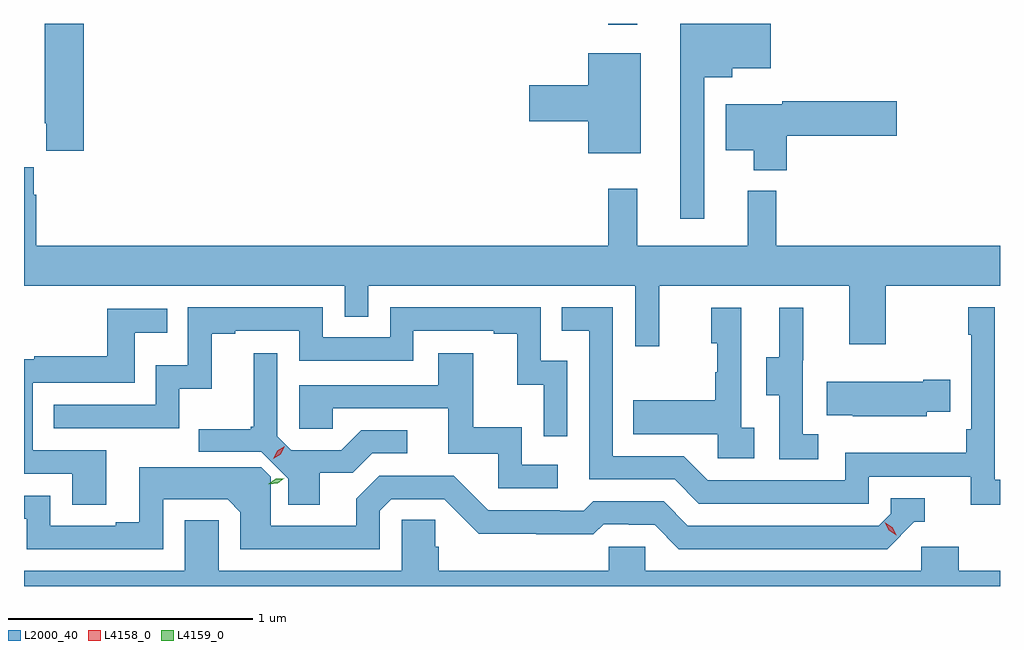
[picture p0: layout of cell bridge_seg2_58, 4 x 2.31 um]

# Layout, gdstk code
import gdstk
lib = gdstk.Library(unit=1e-6, precision=1e-09)
def R(c, l, rs):  # rectangles x0, y0, x1, y1
    for r in rs: c.add(gdstk.rectangle(r[:2], r[2:], *l))
def P(c, l, *ps):  # polygons
    for p in ps: c.add(gdstk.Polygon(p, *l))
L2000_40 = (2000, 40)
L4158_0 = (4158, 0)
L4159_0 = (4159, 0)

bridge_seg2_58 = lib.new_cell('bridge_seg2_58')
R(bridge_seg2_58, L2000_40, [(1129.807,586.101,1129.926,586.106)])
P(bridge_seg2_58, L2000_40, [(1127.657,586.106),(1127.497,586.106),(1127.497,585.697),(1127.503,585.697),(1127.503,585.585),(1127.657,585.585)],
  [(1130.199,585.887),(1130.314,585.887),(1130.314,585.923),(1130.473,585.923),(1130.473,586.106),(1130.102,586.106),(1130.102,585.306),(1130.199,585.306)],
  [(1129.939,585.985),(1129.724,585.985),(1129.724,585.854),(1129.482,585.854),(1129.482,585.707),(1129.724,585.707),(1129.724,585.575),(1129.939,585.575)],
  [(1130.537,585.646),(1130.989,585.646),(1130.989,585.788),(1130.52,585.788),(1130.52,585.775),(1130.288,585.775),(1130.288,585.587),(1130.402,585.587),(1130.402,585.506),(1130.537,585.506)],
  [(1130.015,585.032),(1130.795,585.032),(1130.795,584.793),(1130.943,584.793),(1130.943,585.032),(1131.412,585.032),(1131.412,585.196),(1130.495,585.196),(1130.495,585.421),(1130.378,585.421),(1130.378,585.196),(1129.925,585.196),(1129.925,585.43),(1129.807,585.43),(1129.807,585.196),(1127.462,585.196),(1127.462,585.404),(1127.452,585.404),(1127.452,585.517),(1127.412,585.517),(1127.412,585.032),(1128.726,585.032),(1128.726,584.905),(1128.822,584.905),(1128.822,585.032),(1129.917,585.032),(1129.917,584.784),(1130.015,584.784)],
  [(1131.412,584.236),(1131.39,584.236),(1131.39,584.944),(1131.282,584.944),(1131.282,584.831),(1131.294,584.831),(1131.294,584.443),(1131.274,584.443),(1131.274,584.347),(1130.778,584.347),(1130.778,584.235),(1130.214,584.235),(1130.115,584.334),(1129.824,584.334),(1129.824,584.943),(1129.615,584.943),(1129.615,584.847),(1129.728,584.847),(1129.728,584.238),(1130.078,584.238),(1130.177,584.139),(1130.874,584.139),(1130.874,584.25),(1131.293,584.25),(1131.293,584.134),(1131.412,584.134)],
  [(1129.638,584.724),(1129.53,584.724),(1129.53,584.943),(1128.912,584.943),(1128.912,584.82),(1128.636,584.82),(1128.636,584.943),(1128.084,584.943),(1128.084,584.707),(1127.952,584.707),(1127.952,584.544),(1127.533,584.544),(1127.533,584.448),(1127.845,584.448),(1127.845,584.447),(1128.048,584.447),(1128.048,584.609),(1128.181,584.609),(1128.181,584.835),(1128.277,584.835),(1128.277,584.847),(1128.54,584.847),(1128.54,584.724),(1129.008,584.724),(1129.008,584.847),(1129.337,584.847),(1129.337,584.835),(1129.433,584.835),(1129.433,584.627),(1129.542,584.627),(1129.542,584.415),(1129.638,584.415)],
  [(1130.668,584.423),(1130.604,584.423),(1130.604,584.727),(1130.606,584.727),(1130.606,584.941),(1130.507,584.941),(1130.507,584.739),(1130.453,584.739),(1130.453,584.584),(1130.508,584.584),(1130.508,584.32),(1130.668,584.32)],
  [(1130.404,584.45),(1130.352,584.45),(1130.352,584.941),(1130.228,584.941),(1130.228,584.796),(1130.254,584.796),(1130.254,584.678),(1130.244,584.678),(1130.244,584.563),(1129.909,584.563),(1129.909,584.423),(1130.256,584.423),(1130.256,584.325),(1130.404,584.325)],
  [(1127.749,584.358),(1127.448,584.358),(1127.448,584.634),(1127.865,584.634),(1127.865,584.84),(1127.999,584.84),(1127.999,584.937),(1127.754,584.937),(1127.754,584.743),(1127.455,584.743),(1127.455,584.731),(1127.412,584.731),(1127.412,584.262),(1127.609,584.262),(1127.609,584.134),(1127.749,584.134)],
  [(1128.625,584.266),(1128.76,584.266),(1128.84,584.346),(1128.982,584.346),(1128.982,584.439),(1128.794,584.439),(1128.713,584.358),(1128.507,584.358),(1128.45,584.415),(1128.45,584.755),(1128.353,584.755),(1128.353,584.454),(1128.342,584.454),(1128.342,584.443),(1128.129,584.443),(1128.129,584.351),(1128.385,584.351),(1128.495,584.24),(1128.495,584.134),(1128.625,584.134)],
  [(1129.6,584.298),(1129.452,584.298),(1129.452,584.452),(1129.253,584.452),(1129.253,584.755),(1129.109,584.755),(1129.109,584.625),(1128.54,584.625),(1128.54,584.445),(1128.677,584.445),(1128.677,584.529),(1129.151,584.529),(1129.151,584.343),(1129.356,584.343),(1129.356,584.202),(1129.6,584.202)],
  [(1131.111,584.516),(1131.209,584.516),(1131.209,584.646),(1131.098,584.646),(1131.098,584.638),(1130.701,584.638),(1130.701,584.501),(1130.809,584.501),(1130.809,584.498),(1131.111,584.498)],
  [(1127.982,584.156),(1128.247,584.156),(1128.299,584.104),(1128.299,583.953),(1128.87,583.953),(1128.87,584.109),(1128.918,584.157),(1129.134,584.157),(1129.276,584.015),(1129.512,584.015),(1129.512,584.013),(1129.745,584.013),(1129.787,584.055),(1129.89,584.055),(1129.89,584.052),(1129.997,584.052),(1130.096,583.953),(1130.949,583.953),(1131.06,584.064),(1131.103,584.064),(1131.103,584.16),(1130.964,584.16),(1130.964,584.097),(1130.916,584.049),(1130.133,584.049),(1130.034,584.148),(1129.745,584.148),(1129.706,584.109),(1129.607,584.109),(1129.607,584.112),(1129.314,584.112),(1129.173,584.253),(1128.867,584.253),(1128.773,584.159),(1128.773,584.049),(1128.424,584.049),(1128.424,584.249),(1128.385,584.288),(1127.885,584.288),(1127.885,584.062),(1127.789,584.062),(1127.789,584.049),(1127.52,584.049),(1127.52,584.172),(1127.412,584.172),(1127.412,584.076),(1127.424,584.076),(1127.424,583.953),(1127.982,583.953)],
  [(1131.412,583.864),(1131.242,583.864),(1131.242,583.962),(1131.09,583.962),(1131.09,583.864),(1129.959,583.864),(1129.959,583.962),(1129.809,583.962),(1129.809,583.864),(1129.112,583.864),(1129.112,583.962),(1129.097,583.962),(1129.097,584.072),(1128.96,584.072),(1128.96,583.864),(1128.21,583.864),(1128.21,584.071),(1128.071,584.071),(1128.071,583.864),(1127.412,583.864),(1127.412,583.8),(1131.412,583.8)])
P(bridge_seg2_58, L4158_0, [(1130.986,584.01),(1130.956,584.03),(1130.939,584.063),(1130.939,584.063),(1130.94,584.063),(1130.97,584.043),(1130.986,584.011),(1130.986,584.01)],
  [(1128.434,584.322),(1128.434,584.322),(1128.449,584.355),(1128.48,584.375),(1128.48,584.375),(1128.48,584.375),(1128.465,584.342),(1128.434,584.322)])
P(bridge_seg2_58, L4159_0, [(1128.416,584.219),(1128.416,584.219),(1128.416,584.22),(1128.444,584.24),(1128.479,584.243),(1128.479,584.243),(1128.479,584.243),(1128.451,584.222)])

lib.write_gds('bridge_seg2_58.gds')
